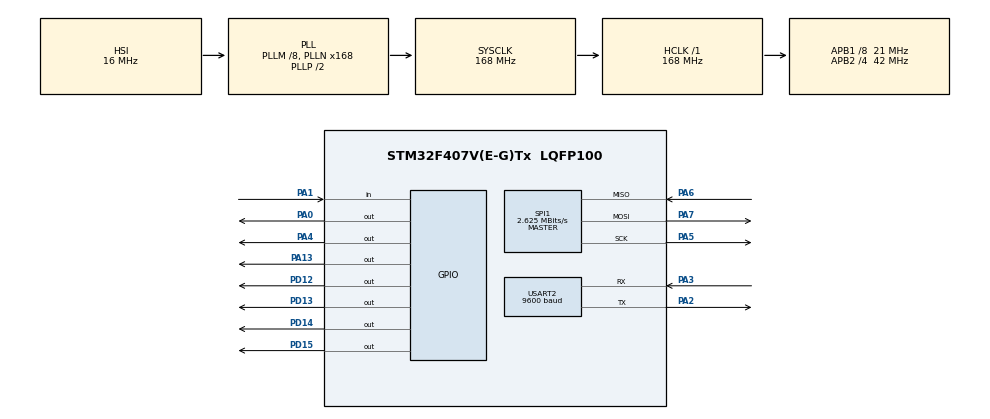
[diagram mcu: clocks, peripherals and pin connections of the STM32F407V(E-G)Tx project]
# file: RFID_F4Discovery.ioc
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Mcu.Family=STM32F4
Mcu.Name=STM32F407V(E-G)Tx
Mcu.Package=LQFP100
NVIC.PriorityGroup=NVIC_PRIORITYGROUP_4
NVIC.USART2_IRQn=true\:0\:0\:false\:false\:true\:true
PA0-WKUP.Signal=GPIO_Output
PA1.Signal=GPIO_Input
PA13.Signal=GPIO_Output
PA2.Mode=Asynchronous
PA2.Signal=USART2_TX
PA3.Mode=Asynchronous
PA3.Signal=USART2_RX
PA4.Signal=GPIO_Output
PA5.Mode=Full_Duplex_Master
PA5.Signal=SPI1_SCK
PA6.Mode=Full_Duplex_Master
PA6.Signal=SPI1_MISO
PA7.Mode=Full_Duplex_Master
PA7.Signal=SPI1_MOSI
PD12.Signal=GPIO_Output
PD13.Signal=GPIO_Output
PD14.Signal=GPIO_Output
PD15.Signal=GPIO_Output
ProjectManager.HeapSize=0x200
ProjectManager.StackSize=0x400
ProjectManager.TargetToolchain=SW4STM32
RCC.48MHZClocksFreq_Value=84000000
RCC.AHBFreq_Value=168000000
RCC.APB1CLKDivider=RCC_HCLK_DIV8
RCC.APB1Freq_Value=21000000
RCC.APB1TimFreq_Value=42000000
RCC.APB2CLKDivider=RCC_HCLK_DIV4
RCC.APB2Freq_Value=42000000
RCC.APB2TimFreq_Value=84000000
RCC.CortexFreq_Value=168000000
RCC.HCLKFreq_Value=168000000
RCC.HSE_VALUE=8000000
RCC.HSI_VALUE=16000000
RCC.LSE_VALUE=32768
RCC.PLLM=8
RCC.PLLN=168
RCC.SYSCLKFreq_VALUE=168000000
RCC.SYSCLKSource=RCC_SYSCLKSOURCE_PLLCLK
RCC.VCOOutputFreq_Value=336000000
SPI1.BaudRatePrescaler=SPI_BAUDRATEPRESCALER_16
SPI1.CalculateBaudRate=2.625 MBits/s
SPI1.Direction=SPI_DIRECTION_2LINES
SPI1.Mode=SPI_MODE_MASTER
SPI1.VirtualType=VM_MASTER
USART2.BaudRate=9600
USART2.Mode=MODE_TX
USART2.VirtualMode=VM_ASYNC
board=custom

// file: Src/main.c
/**
  ******************************************************************************
  * @file           : main.c
  * @brief          : Main program body
  ******************************************************************************
  ** This notice applies to any and all portions of this file
  * that are not between comment pairs USER CODE BEGIN and
  * USER CODE END. Other portions of this file, whether
  * inserted by the user or by software development tools
  * are owned by their respective copyright owners.
  *
  * COPYRIGHT(c) 2019 STMicroelectronics
  *
  * Redistribution and use in source and binary forms, with or without modification,
  * are permitted provided that the following conditions are met:
  *   1. Redistributions of source code must retain the above copyright notice,
  *      this list of conditions and the following disclaimer.
  *   2. Redistributions in binary form must reproduce the above copyright notice,
  *      this list of conditions and the following disclaimer in the documentation
  *      and/or other materials provided with the distribution.
  *   3. Neither the name of STMicroelectronics nor the names of its contributors
  *      may be used to endorse or promote products derived from this software
  *      without specific prior written permission.
  *
  * THIS SOFTWARE IS PROVIDED BY THE COPYRIGHT HOLDERS AND CONTRIBUTORS "AS IS"
  * AND ANY EXPRESS OR IMPLIED WARRANTIES, INCLUDING, BUT NOT LIMITED TO, THE
  * IMPLIED WARRANTIES OF MERCHANTABILITY AND FITNESS FOR A PARTICULAR PURPOSE ARE
  * DISCLAIMED. IN NO EVENT SHALL THE COPYRIGHT HOLDER OR CONTRIBUTORS BE LIABLE
  * FOR ANY DIRECT, INDIRECT, INCIDENTAL, SPECIAL, EXEMPLARY, OR CONSEQUENTIAL
  * DAMAGES (INCLUDING, BUT NOT LIMITED TO, PROCUREMENT OF SUBSTITUTE GOODS OR
  * SERVICES; LOSS OF USE, DATA, OR PROFITS; OR BUSINESS INTERRUPTION) HOWEVER
  * CAUSED AND ON ANY THEORY OF LIABILITY, WHETHER IN CONTRACT, STRICT LIABILITY,
  * OR TORT (INCLUDING NEGLIGENCE OR OTHERWISE) ARISING IN ANY WAY OUT OF THE USE
  * OF THIS SOFTWARE, EVEN IF ADVISED OF THE POSSIBILITY OF SUCH DAMAGE.
  *
  ******************************************************************************
  */
#include "main.h"
#include "stm32f4xx_hal.h"

/* USER CODE BEGIN Includes */
#include "my_rc522.h"

/* USER CODE END Includes */

SPI_HandleTypeDef hspi1;

UART_HandleTypeDef huart2;

/* USER CODE BEGIN PV */
/* Private variables ---------------------------------------------------------*/
uint8_t sendUART[9] = "Numer ID:";
uint8_t enter[1] = "\n";
uint16_t sizeSendUART = 2;

unsigned char CardID[4];
unsigned char MyID[4] = {0xB5, 0x29, 0xBF, 0x59};	//My card on my keys
/* USER CODE END PV */

void SystemClock_Config(void);
static void MX_GPIO_Init(void);
static void MX_SPI1_Init(void);
static void MX_USART2_UART_Init(void);

/* USER CODE BEGIN PFP */
/* Private function prototypes -----------------------------------------------*/

/* USER CODE END PFP */

int main(void)
{

  /* MCU Configuration----------------------------------------------------------*/

  /* Reset of all peripherals, Initializes the Flash interface and the Systick. */
  HAL_Init();

  /* Configure the system clock */
  SystemClock_Config();

  /* Initialize all configured peripherals */
  MX_GPIO_Init();
  MX_SPI1_Init();
  MX_USART2_UART_Init();
  /* USER CODE BEGIN 2 */

  init();						//	my_rc522.h

  /* USER CODE END 2 */

  /* Infinite loop */
  /* USER CODE BEGIN WHILE */
  while (1){
	  HAL_GPIO_WritePin(GPIOD, GPIO_PIN_12, 0);

	  if(check_for_card(CardID) == MI_OK){
		  HAL_GPIO_WritePin(GPIOD, GPIO_PIN_14, 1);

		  if(compare_ID(CardID, MyID) == MI_OK){
			  HAL_GPIO_WritePin(GPIOD, GPIO_PIN_15, 1);

		  }
	  }
	  else{
		  HAL_GPIO_WritePin(GPIOD, GPIO_PIN_14, 0);
		  HAL_GPIO_WritePin(GPIOD, GPIO_PIN_15, 0);
	  }
	  HAL_Delay(100);
	  HAL_GPIO_WritePin(GPIOD, GPIO_PIN_12, 1);
	  HAL_Delay(100);

  /* USER CODE END WHILE */

  }

}

void SystemClock_Config(void)
{

  RCC_OscInitTypeDef RCC_OscInitStruct;
  RCC_ClkInitTypeDef RCC_ClkInitStruct;

    /**Configure the main internal regulator output voltage
    */
  __HAL_RCC_PWR_CLK_ENABLE();

  __HAL_PWR_VOLTAGESCALING_CONFIG(PWR_REGULATOR_VOLTAGE_SCALE1);

    /**Initializes the CPU, AHB and APB busses clocks
    */
  RCC_OscInitStruct.OscillatorType = RCC_OSCILLATORTYPE_HSI;
  RCC_OscInitStruct.HSIState = RCC_HSI_ON;
  RCC_OscInitStruct.HSICalibrationValue = 16;
  RCC_OscInitStruct.PLL.PLLState = RCC_PLL_ON;
  RCC_OscInitStruct.PLL.PLLSource = RCC_PLLSOURCE_HSI;
  RCC_OscInitStruct.PLL.PLLM = 8;
  RCC_OscInitStruct.PLL.PLLN = 168;
  RCC_OscInitStruct.PLL.PLLP = RCC_PLLP_DIV2;
  RCC_OscInitStruct.PLL.PLLQ = 4;
  if (HAL_RCC_OscConfig(&RCC_OscInitStruct) != HAL_OK)
  {
    _Error_Handler(__FILE__, __LINE__);
  }

    /**Initializes the CPU, AHB and APB busses clocks
    */
  RCC_ClkInitStruct.ClockType = RCC_CLOCKTYPE_HCLK|RCC_CLOCKTYPE_SYSCLK
                              |RCC_CLOCKTYPE_PCLK1|RCC_CLOCKTYPE_PCLK2;
  RCC_ClkInitStruct.SYSCLKSource = RCC_SYSCLKSOURCE_PLLCLK;
  RCC_ClkInitStruct.AHBCLKDivider = RCC_SYSCLK_DIV1;
  RCC_ClkInitStruct.APB1CLKDivider = RCC_HCLK_DIV8;
  RCC_ClkInitStruct.APB2CLKDivider = RCC_HCLK_DIV4;

  if (HAL_RCC_ClockConfig(&RCC_ClkInitStruct, FLASH_LATENCY_5) != HAL_OK)
  {
    _Error_Handler(__FILE__, __LINE__);
  }

    /**Configure the Systick interrupt time
    */
  HAL_SYSTICK_Config(HAL_RCC_GetHCLKFreq()/1000);

    /**Configure the Systick
    */
  HAL_SYSTICK_CLKSourceConfig(SYSTICK_CLKSOURCE_HCLK);

  /* SysTick_IRQn interrupt configuration */
  HAL_NVIC_SetPriority(SysTick_IRQn, 0, 0);
}

/* SPI1 init function */
static void MX_SPI1_Init(void)
{

  /* SPI1 parameter configuration*/
  hspi1.Instance = SPI1;
  hspi1.Init.Mode = SPI_MODE_MASTER;
  hspi1.Init.Direction = SPI_DIRECTION_2LINES;
  hspi1.Init.DataSize = SPI_DATASIZE_8BIT;
  hspi1.Init.CLKPolarity = SPI_POLARITY_LOW;
  hspi1.Init.CLKPhase = SPI_PHASE_1EDGE;
  hspi1.Init.NSS = SPI_NSS_SOFT;
  hspi1.Init.BaudRatePrescaler = SPI_BAUDRATEPRESCALER_16;
  hspi1.Init.FirstBit = SPI_FIRSTBIT_MSB;
  hspi1.Init.TIMode = SPI_TIMODE_DISABLE;
  hspi1.Init.CRCCalculation = SPI_CRCCALCULATION_DISABLE;
  hspi1.Init.CRCPolynomial = 10;
  if (HAL_SPI_Init(&hspi1) != HAL_OK)
  {
    _Error_Handler(__FILE__, __LINE__);
  }

}

/* USART2 init function */
static void MX_USART2_UART_Init(void)
{

  huart2.Instance = USART2;
  huart2.Init.BaudRate = 9600;
  huart2.Init.WordLength = UART_WORDLENGTH_8B;
  huart2.Init.StopBits = UART_STOPBITS_1;
  huart2.Init.Parity = UART_PARITY_NONE;
  huart2.Init.Mode = UART_MODE_TX;
  huart2.Init.HwFlowCtl = UART_HWCONTROL_NONE;
  huart2.Init.OverSampling = UART_OVERSAMPLING_16;
  if (HAL_UART_Init(&huart2) != HAL_OK)
  {
    _Error_Handler(__FILE__, __LINE__);
  }

}

/** Configure pins as
        * Analog
        * Input
        * Output
        * EVENT_OUT
        * EXTI
*/
static void MX_GPIO_Init(void)
{

  GPIO_InitTypeDef GPIO_InitStruct;

  /* GPIO Ports Clock Enable */
  __HAL_RCC_GPIOA_CLK_ENABLE();
  __HAL_RCC_GPIOD_CLK_ENABLE();

  /*Configure GPIO pin Output Level */
  HAL_GPIO_WritePin(GPIOA, GPIO_PIN_0|GPIO_PIN_4|GPIO_PIN_13, GPIO_PIN_RESET);

  /*Configure GPIO pin Output Level */
  HAL_GPIO_WritePin(GPIOD, GPIO_PIN_12|GPIO_PIN_13|GPIO_PIN_14|GPIO_PIN_15, GPIO_PIN_RESET);

  /*Configure GPIO pins : PA0 PA4 PA13 */
  GPIO_InitStruct.Pin = GPIO_PIN_0|GPIO_PIN_4|GPIO_PIN_13;
  GPIO_InitStruct.Mode = GPIO_MODE_OUTPUT_PP;
  GPIO_InitStruct.Pull = GPIO_NOPULL;
  GPIO_InitStruct.Speed = GPIO_SPEED_FREQ_LOW;
  HAL_GPIO_Init(GPIOA, &GPIO_InitStruct);

  /*Configure GPIO pin : PA1 */
  GPIO_InitStruct.Pin = GPIO_PIN_1;
  GPIO_InitStruct.Mode = GPIO_MODE_INPUT;
  GPIO_InitStruct.Pull = GPIO_NOPULL;
  HAL_GPIO_Init(GPIOA, &GPIO_InitStruct);

  /*Configure GPIO pins : PD12 PD13 PD14 PD15 */
  GPIO_InitStruct.Pin = GPIO_PIN_12|GPIO_PIN_13|GPIO_PIN_14|GPIO_PIN_15;
  GPIO_InitStruct.Mode = GPIO_MODE_OUTPUT_PP;
  GPIO_InitStruct.Pull = GPIO_NOPULL;
  GPIO_InitStruct.Speed = GPIO_SPEED_FREQ_LOW;
  HAL_GPIO_Init(GPIOD, &GPIO_InitStruct);

}

void _Error_Handler(char *file, int line)
{
  while(1)
  {
  }
}

/************************ (C) COPYRIGHT STMicroelectronics *****END OF FILE****/
